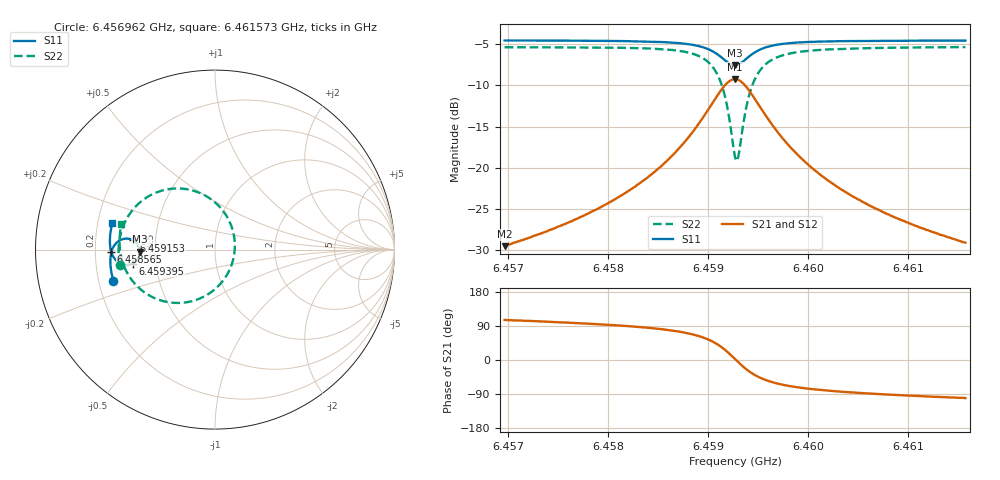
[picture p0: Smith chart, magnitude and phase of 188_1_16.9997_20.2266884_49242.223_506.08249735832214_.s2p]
#  HZ  S  RI  R  50.00
! Rohde & Schwarz Vector Network Analyzer
! Rohde-Schwarz,ZNB20-2Port,1311601062101988,3.16
! Created: UTC 3/20/2024, 11:00:26 PM
! freq[Hz]  re:S11  im:S11  re:S21  im:S21  re:S12  im:S12  re:S22  im:S22
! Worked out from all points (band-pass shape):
!   401 points, 6.456962 GHz to 6.461573 GHz, reference 50 ohm
!   highest |S21| = -9.25 dB at 6.459268 GHz (marker M1); lowest = -29.5 dB at 6.456962 GHz (marker M2)
!   |S21| within 3 dB of the highest: 6.459037 GHz to 6.459498 GHz (461.4 kHz wide, 0.00714 % of centre)
!   lowest |S11| = -7.6 dB at 6.459268 GHz (marker M3), VSWR 2.44, Z = 20.5 - j0.598 ohm
!   |S11| at or under -10 dB: nowhere
!   |S22| runs from -19.1 to -5.4 dB; largest |S21 - S12| = 0.013
!   S11 on the Smith chart (normalised r, x): 6.456962 GHz: 0.26, -0.14; 6.458565 GHz: 0.27, -0.01; 6.459153 GHz: 0.37, +0.05; 6.459395 GHz: 0.37, -0.07; 6.461573 GHz: 0.26, +0.12
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6.4569622e9  -0.5658 -0.1746  -0.00908 0.0322  -0.00741 0.0323  -0.5313 -0.0884
6.4577346e9  -0.5802 -0.1072  -0.00595 0.0502  -0.00335 0.0497  -0.5371 0.00165
6.4581496e9  -0.5833 -0.0658  -0.000289 0.0691  0.003 0.0677  -0.5299 0.0671
6.458507e9  -0.5796 -0.0231  0.0137 0.0986  0.0177 0.0959  -0.5046 0.1471
6.4585646e9  -0.5778 -0.0153  0.018 0.1055  0.0219 0.1025  -0.4966 0.1636
6.4587721e9  -0.5649 0.017  0.0453 0.138  0.0495 0.1332  -0.4455 0.2365
6.458922e9  -0.5423 0.0434  0.0905 0.1688  0.0937 0.162  -0.3626 0.3014
6.4590603e9  -0.4986 0.0612  0.1774 0.1855  0.1785 0.1782  -0.2036 0.3407
6.4591525e9  -0.4541 0.051  0.2674 0.1546  0.2677 0.1488  -0.0374 0.2909
6.4592217e9  -0.4248 0.019  0.328 0.083  0.3302 0.0778  0.0782 0.1622
6.4592678e9  -0.4179 -0.012  0.3445 0.0152  0.3483 0.00835  0.1106 0.0357
6.4592793e9  -0.4183 -0.02  0.3445 -0.00254  0.3483 -0.00996  0.1104 0.00217
6.4593024e9  -0.4219 -0.0357  0.3389 -0.0371  0.3428 -0.0462  0.0993 -0.0634
6.4593485e9  -0.4374 -0.0617  0.3106 -0.0969  0.3128 -0.1088  0.0422 -0.1763
6.4593946e9  -0.4594 -0.078  0.2687 -0.1381  0.2678 -0.1511  -0.0423 -0.2508
6.4594868e9  -0.5027 -0.0848  0.1842 -0.1693  0.1783 -0.1807  -0.2102 -0.2973
6.4596367e9  -0.5466 -0.0645  0.0967 -0.1558  0.0883 -0.1619  -0.3771 -0.2487
6.4597981e9  -0.5681 -0.0369  0.0518 -0.1281  0.0442 -0.1309  -0.4576 -0.1773
6.4600402e9  -0.581 -0.00146  0.0226 -0.0968  0.0169 -0.0974  -0.5058 -0.0954
6.460386e9  -0.5857 0.0397  0.00646 -0.0703  0.00246 -0.0698  -0.5275 -0.0164
6.4608125e9  -0.5838 0.0824  -0.00122 -0.0518  -0.00402 -0.051  -0.532 0.0517
6.4615733e9  -0.5718 0.1498  -0.00646 -0.0345  -0.00804 -0.0336  -0.5211 0.1414
